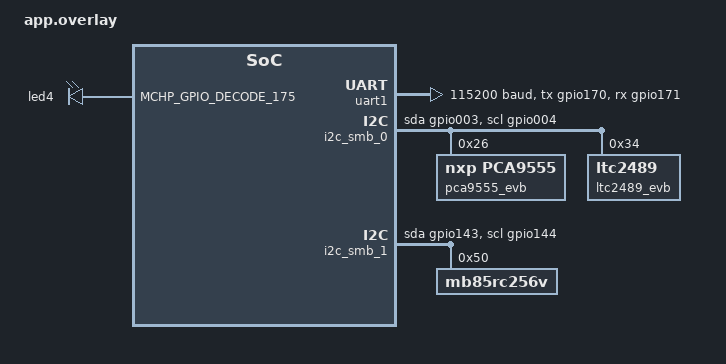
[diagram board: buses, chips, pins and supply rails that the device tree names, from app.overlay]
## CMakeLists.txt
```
# SPDX-License-Identifier: Apache-2.0

cmake_minimum_required(VERSION 3.20.0)

find_package(Zephyr REQUIRED HINTS $ENV{ZEPHYR_BASE})
project(i2c)

FILE(GLOB app_sources src/*.c)
target_sources(app PRIVATE ${app_sources})
```

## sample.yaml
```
tests:
  boards.mchp_mec.i2c:
    build_only: true
    platform_allow:
      - mec_assy6906/mech1723_nsz
      - mec_assy6906/mech1723_nlj
      - mec_assy6941/mec1743_qlj
      - mec_assy6941/mec1743_qsz
      - mec_assy6941/mec1753_qlj
      - mec_assy6941/mec1753_qsz
    tags: drivers i2c
```

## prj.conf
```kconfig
CONFIG_LOG=y
CONFIG_LOG_MODE_IMMEDIATE=y
#CONFIG_LOG_MODE_MINIMAL=y
#CONFIG_LOG_MODE_DEFERRED=y
#CONFIG_LOG_BUFFER_SIZE=2048
CONFIG_LOG_BACKEND_UART=y
#CONFIG_LOG_BACKEND_SWO=y
#CONFIG_LOG_BACKEND_SWO_REF_FREQ_HZ=96000000
#CONFIG_LOG_BACKEND_SWO_FREQ_HZ=4000000

CONFIG_GPIO=y
CONFIG_PINCTRL=y
CONFIG_LED=y
CONFIG_SERIAL=y
CONFIG_CONSOLE=y
CONFIG_UART_CONSOLE=y
CONFIG_I2C=y

# CONFIG_PM=n

# Help debug new code
# CONFIG_DEBUG_COREDUMP=y
# CONFIG_TRAP_UNALIGNED_ACCESS=y
# CONFIG_DEBUG=y
```

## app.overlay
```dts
/*
 * Copyright (c) 2024 Microchip Technology Inc.
 *
 * SPDX-License-Identifier: Apache-2.0
 */

#include <zephyr/dt-bindings/gpio/gpio.h>
#include <zephyr/dt-bindings/gpio/microchip-xec-gpio.h>

/*
 * MEC5_ASSY6941
 * JP7 2-3 GPIO055 pulled-down via 10K to ground.
 * JP23 14-15 selects GPIO055 as SHD_nCS0
 * JP42 1-2 connects 1.8V
 * JP60 2-3 VTR2 is powered by 1.8V
 * NOTE: VTR3 is always 1.8V
 *
 * Boot-ROM GPIO055 as RSMRST#
 * GPIO Control register value = 0x0200
 * Output, push-pull, driver low, no internal pulls,
 * interrupt detection = level low, alternate out enabled.
 * ROM drives pin high(inactive) using alternate out (bit[16] of control register)
 * Control register = 0x10200
 *
 * GPIO175/CMP_VOUT1/PWM8_ALT on schematic, LED4 on silkscreen.
 *
 * I2C00_SDA/SCL = GPIO003/004
 * Install Jumper JP15 4-5 to route GPIO004 as I2C00_SCL/UART2_DCD
 * Install Jumper JP15 7-8 to route GPIO003 as I2C00_SDA/UART2_RI
 * Install Jumper JP27 34-35 to select I2C00_SDA
 * Install Jumper JP27 31-32 to select I2C00_SCL
 * Install Jumper JP70 19-20 7.5K pull-up to VTR1 for I2C00_SDA
 * Install Jumper JP70 21-22 7.5K pull-up to VTR1 for I2C00_SCL
 *
 * U4 is PCA9555 I2C GPIO expander
 * JP52 1-2 use +3.3V_STBY
 * JP61 1-2, 3-4 connect I2C00_SCL and I2C00_SDA to EXTERNAL_SCLK/SDATA
 * JP55 selects I2C address
 * 1-2 = A0, 3-4 = A1, 5-6 = A2 all pull-up by default. Install jumper to ground signals.
 * Installed jumper on JP55 1-2. I2C Address = 0x26
 *
 * U19 is LTC2489 I2C 4-channel delta-sigma ADC
 * Address select pins CA0, CA1 both pulled high. Install jumpers to ground signals.
 * Installed jumpers on JP124 1-2 and 3-4. I2C Address = 0x34
 *
 * Attached Fujitsu MB85RC256V I2C FRAM demo board to 6-pin header J10
 * AdaFruit I2C FRAM breakout board.
 * NOTE: removed demo board 1K pulls on SCL and SDA. Using EVB pulls on SCL/SDA.
 * This device allows testing of larger I2C messages and breaking up large transactions
 * into multiple message buffers.
 * FRAM board power -> J10-5 VTR1 (3.3V)
 * FRAM board GND   -> J10-6 GND
 * FRAM board SCL   -> J10-1 I2C00_SCL
 * FRAM board SDA   -> J10-3 I2C00_SDA
 * FRAM address pins A0, A1, A2 are internally pulled-down.
 * I2C Address = 1010_A2_A1_A0 = 0x50 (default)
 *
 * I2C Port 4 is on VTR1
 * JP20 3x4
 *  1-2 GPIO144 I2C04_SCL
 *  4-5 GPIO143 I2C04_SDA
 *
 * JP21 3x16
 *  13-14 GPIO144 I2C04_SCL
 *  25-26 GPIO143 I2C04_SDA
 *
 * pull-ups
 * JP71 25-26 connect 7.5K pull-up to VTR1
 * JP71 27-28 connect 7.5K pull-up to VTR1
 *
 * 1x6 header J17
 * 1 = I2C04_SCL
 * 2, 6 = GND
 * 3 = I2C04_SDA
 * 4 = NC
 * 5 = VTR1
 */

/ {
	chosen {
		zephyr,console = &uart1;
	};

	aliases {
		spi0 = &qspi0;
		led0 = &led4;
		i2c0 = &i2c_smb_0;
		i2c-0 = &i2c_smb_0;
		i2c-nl-0 = &i2c_smb_1;
	};

	leds {
		compatible = "gpio-leds";
		led4: led_0 {
			gpios = <MCHP_GPIO_DECODE_175 GPIO_ACTIVE_HIGH>;
		};
	};
};

&dmac {
	compatible = "microchip,mec5-dmac";
	status = "okay";
};

&i2c00_scl_gpio004 {
	drive-open-drain;
	output-enable;
	output-high;
	drive-strength = "4x";
};

&i2c00_sda_gpio003 {
	drive-open-drain;
	output-enable;
	output-high;
	drive-strength = "4x";
};

&uart1 {
	current-speed = <115200>;
	status = "okay";
	pinctrl-0 = <&uart1_tx_gpio170 &uart1_rx_gpio171>;
	pinctrl-names = "default";
};

&i2c_smb_0 {
	compatible = "microchip,mec5-i2c";
	status = "okay";
	port_sel = < 0 >;
	sda-gpios = < MCHP_GPIO_DECODE_003 0 >;
	scl-gpios = < MCHP_GPIO_DECODE_004 0 >;
	pinctrl-0 = < &i2c00_sda_gpio003 &i2c00_scl_gpio004 >;
	pinctrl-names = "default";

	pca9555_evb: pca9555@26 {
		/* Zephyr will load NXP PCA9555 driver after MEC5 I2C because it calls MEC5 I2C during init */
		compatible = "nxp,pca9555";
		reg = <0x26>;
		gpio-controller;
		#gpio-cells = <2>;
	};

	ltc2489_evb: ltc2489@34 {
		/* No Zephyr driver exists */
		reg = <0x34>;
		#io-channels-cells = <1>;
	};
};

&i2c_smb_1 {
	compatible = "microchip,mec5-i2c-nl";
	status = "okay";
	port_sel = < 4 >;
	sda-gpios = < MCHP_GPIO_DECODE_143 0 >;
	scl-gpios = < MCHP_GPIO_DECODE_144 0 >;
	pinctrl-0 = < &i2c04_sda_gpio143 &i2c04_scl_gpio144 >;
	pinctrl-names = "default";
	dmas = <&dmac 2 0x3>, <&dmac 3 0x2>;
	dma-names = "cm", "tm";

	/* External Fujitsu MB85RC256V 256KB (32K x 8) FRAM */
	mb85rc256v: mb85rc256v@50 {
		/* No Zephyr driver exists */
		reg = <0x50>;
	};
};
```

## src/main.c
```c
/*
 * Copyright (c) 2012-2014 Wind River Systems, Inc.
 * Copyright (c) 2022 Microchip Technology, Inc.
 *
 * SPDX-License-Identifier: Apache-2.0
 */

#include <errno.h>
#include <stdint.h>
#include <string.h>
#include <soc.h>
#include <mec_i2c_api.h>

#include <zephyr/device.h>
#include <zephyr/devicetree.h>
#include <zephyr/kernel.h>
#include <zephyr/drivers/gpio.h>
#include <zephyr/drivers/i2c.h>
#include <zephyr/drivers/i2c/mchp_mec5_i2c.h>
#include <zephyr/drivers/led.h>
#include <zephyr/drivers/pinctrl.h>
#include <zephyr/drivers/spi.h>
#include <zephyr/sys/sys_io.h>

#include <zephyr/logging/log_ctrl.h>
#include <zephyr/logging/log.h>
LOG_MODULE_REGISTER(app, CONFIG_LOG_DEFAULT_LEVEL);

#define APP_BOARD_HAS_FRAM_ATTACHED

#define I2C_TARGET_NOT_PRESENT_ADDR 0x56

/* LTC2489 ADC conversion time using internal clock.
 * If a converstion is in progress LTC2489 will NACK its address.
 */
#define LTC2489_ADC_CONV_TIME_MS 150
#define LTC2489_ADC_READ_RETRIES 10

#define I2C_SENSOR_PORT 0
#define I2C_FRAM_PORT 4

#define I2C0_NODE	DT_ALIAS(i2c0)

static const struct device *i2c_dev = DEVICE_DT_GET(I2C0_NODE);

/* Access devices on an I2C bus using Device Tree child nodes of the I2C controller */
static const struct i2c_dt_spec pca9555_dts = I2C_DT_SPEC_GET(DT_NODELABEL(pca9555_evb));
static const struct i2c_dt_spec ltc2489_dts = I2C_DT_SPEC_GET(DT_NODELABEL(ltc2489_evb));
#ifdef APP_BOARD_HAS_FRAM_ATTACHED
static const struct i2c_dt_spec mb85rc256v_dts = I2C_DT_SPEC_GET(DT_NODELABEL(mb85rc256v));
#endif

static volatile uint32_t spin_val;
static volatile int ret_val;

static void spin_on(uint32_t id, int rval);
static int config_i2c_device(const struct device *dev, uint32_t i2c_dev_config);
static int test_i2c(const struct device *dev);
static int test_i2c_port_config(const struct device *dev, uint8_t sensor_port, uint8_t fram_port);

uint8_t buf1[256];
uint8_t buf2[256];
uint8_t buf3[256];

int main(void)
{
	int ret = 0;
	uint32_t i2c_dev_config = 0;
	uint32_t adc_retry_count = 0;
	uint32_t temp = 0;
	uint8_t nmsgs = 0;
	uint8_t target_addr = 0;
	struct i2c_msg msgs[4];

	LOG_INF("MEC5 I2C sample: board: %s", DT_N_P_compatible_IDX_0);

	memset(msgs, 0, sizeof(msgs));
	memset(buf1, 0x55, sizeof(buf1));
	memset(buf2, 0x55, sizeof(buf2));

	if (!device_is_ready(i2c_dev)) {
		LOG_ERR("I2C device is not ready!");
		spin_on((uint32_t)__LINE__, -1);
	}

	i2c_dev_config = I2C_SPEED_SET(I2C_SPEED_STANDARD) | I2C_MODE_CONTROLLER;

	ret = config_i2c_device(i2c_dev, i2c_dev_config);
	if (ret) {
		LOG_ERR("I2C configuration error (%d)", ret);
		spin_on((uint32_t)__LINE__, ret);
	}

	ret = i2c_get_config(i2c_dev, &temp);
	if (ret) {
		LOG_ERR("I2C get configuration error (%d)", ret);
		spin_on((uint32_t)__LINE__, ret);
	}

	if (temp != i2c_dev_config) {
		LOG_ERR("I2C configuration does not match: orig(0x%08x) returned(0x%08x)\n",
			i2c_dev_config, temp);
		spin_on((uint32_t)__LINE__, ret);
	}

	/* I2C write to non-existent device: check error return and if
	 * future I2C accesses to a real device work.
	 */
	LOG_INF("Attempt I2C transaction to a non-existent address");
	target_addr = I2C_TARGET_NOT_PRESENT_ADDR;
	nmsgs = 1u;
	buf1[0] = 2u;
	buf1[1] = 0x55u;
	buf1[2] = 0xaa;
	msgs[0].buf = buf1;
	msgs[0].len = 3u;
	msgs[0].flags = I2C_MSG_WRITE | I2C_MSG_STOP;

	ret = i2c_transfer(i2c_dev, msgs, nmsgs, target_addr);
	if (ret != 0) {
		LOG_INF("PASS: Expected API to return an error (%d)", ret);
	} else {
		LOG_ERR("FAIL: I2C API should have returned an error!");
		spin_on((uint32_t)__LINE__, ret);
	}

	for (int i = 0; i < 3; i++) {
		LOG_INF("I2C Write 3 bytes to PCA9555 target device");

		nmsgs = 1u;
		buf1[0] = 2u; /* PCA9555 cmd=2 is output port 0 */
		buf1[1] = 0x55u;
		buf1[2] = 0xaau;
		msgs[0].buf = buf1;
		msgs[0].len = 3u;
		msgs[0].flags = I2C_MSG_WRITE | I2C_MSG_STOP;

		ret = i2c_transfer_dt(&pca9555_dts, msgs, nmsgs);
		if (ret) {
			LOG_ERR("Loop %d: I2C write to PCA9555 error (%d)", i, ret);
			spin_on((uint32_t)__LINE__, ret);
		}
	}

	LOG_INF("Write 3 bytes to PCA9555 target using multiple write buffers");
	nmsgs = 3u;
	buf1[0] = 2u;
	buf1[1] = 0x33u;
	buf1[2] = 0xcc;
	msgs[0].buf = buf1;
	msgs[0].len = 1u;
	msgs[0].flags = I2C_MSG_WRITE;
	msgs[1].buf = &buf1[1];
	msgs[1].len = 1u;
	msgs[1].flags = I2C_MSG_WRITE;
	msgs[2].buf = &buf1[2];
	msgs[2].len = 1u;
	msgs[2].flags = I2C_MSG_WRITE | I2C_MSG_STOP;

	ret = i2c_transfer_dt(&pca9555_dts, msgs, nmsgs);
	if (ret) {
		LOG_ERR("I2C write multiple buffers to PCA9555 error (%d)", ret);
		spin_on((uint32_t)__LINE__, ret);
	}

	LOG_INF("Read both PCA9555 input ports");

	/* PCA9555 read protocol: START TX[wrAddr, cmd],
	 * Rpt-START TX[rdAddr],  RX[data,...], STOP
	 */
	nmsgs = 2u;
	buf1[0] = 0u; /* PCA9555 cmd=0 is input port 0 */
	buf2[0] = 0x55u; /* receive buffer */
	buf2[1] = 0x55u;

	msgs[0].buf = buf1;
	msgs[0].len = 1u;
	msgs[0].flags = I2C_MSG_WRITE;

	msgs[1].buf = buf2;
	msgs[1].len = 2u;
	msgs[1].flags = I2C_MSG_READ | I2C_MSG_STOP;

	ret = i2c_transfer_dt(&pca9555_dts, msgs, nmsgs);
	if (ret) {
		LOG_ERR("I2C transfer error: write cmd byte, read 2 data bytes: (%d)", ret);
		spin_on((uint32_t)__LINE__, ret);
	}

	LOG_INF("PCA9555 Port 0 input = 0x%02x  Port 1 input = 0x%02x", buf2[0], buf2[1]);

	LOG_INF("Read both PCA9555 input ports using different buffers for each port");
	nmsgs = 3u;

	buf1[0] = 0u; /* PCA9555 cmd=0 is input port 0 */
	buf2[0] = 0x55u; /* first receive buffer */
	buf2[1] = 0x55u;
	buf2[8] = 0x55u; /* second receive buffer */
	buf2[9] = 0x55u;

	msgs[0].buf = buf1;
	msgs[0].len = 1u;
	msgs[0].flags = I2C_MSG_WRITE;

	msgs[1].buf = buf2;
	msgs[1].len = 1u;
	msgs[1].flags = I2C_MSG_READ;

	msgs[2].buf = &buf2[8];
	msgs[2].len = 1u;
	msgs[2].flags = I2C_MSG_READ | I2C_MSG_STOP;

	ret = i2c_transfer_dt(&pca9555_dts, msgs, nmsgs);
	if (ret) {
		LOG_ERR("I2C transfer error: 3 messages: (%d)", ret);
		spin_on((uint32_t)__LINE__, ret);
	}

	LOG_INF("PCA9555 Port 0 input = 0x%02x  Port 1 input = 0x%02x", buf2[0], buf2[8]);

	LOG_INF("Select ADC channel 0 in LTC2489. This triggers a conversion!");
	nmsgs = 1;
	buf1[0] = 0xb0u; /* 1011_0000 selects channel 0 as single ended */
	msgs[0].buf = buf1;
	msgs[0].len = 1u;
	msgs[0].flags = I2C_MSG_WRITE | I2C_MSG_STOP;

	ret = i2c_transfer_dt(&ltc2489_dts, msgs, nmsgs);
	if (ret) {
		LOG_ERR("I2C write to set LTC2489 channel failed: (%d)", ret);
		spin_on(10u, ret);
	}

	/* wait for LTC2489 to finish a conversion */
	k_sleep(K_MSEC(LTC2489_ADC_CONV_TIME_MS));

	/* LTC2489 ADC read protocol is I2C read: START TX[rdAddr]
	 * RX[data[7:0], data[15:8], data[23:16]] STOP
	 */
	LOG_INF("Read 24-bit ADC reading from LTC2489");
	adc_retry_count = 0;
	do {
		buf2[0] = 0x55;
		buf2[1] = 0x55;
		buf2[2] = 0x55;

		nmsgs = 1;
		msgs[0].buf = buf2;
		msgs[0].len = 3u;
		msgs[0].flags = I2C_MSG_READ | I2C_MSG_STOP;

		ret = i2c_transfer_dt(&ltc2489_dts, msgs, nmsgs);
		if (ret) {
			adc_retry_count++;
			LOG_INF("LTC2489 read error (%d)", ret);
		}
	} while ((ret != 0) && (adc_retry_count < LTC2489_ADC_READ_RETRIES));

	if (ret == 0) {
		temp = ((uint32_t)(buf2[0]) + (((uint32_t)(buf2[1])) << 8)
				+ (((uint32_t)(buf2[2])) << 16));
		LOG_INF("LTC2489 reading = 0x%08x", temp);
	}

	ret = test_i2c(mb85rc256v_dts.bus);
	if (ret) {
		LOG_ERR("I2C-NL test failed");
	}
	ret = test_i2c_port_config(mb85rc256v_dts.bus, I2C_SENSOR_PORT, I2C_FRAM_PORT);
	LOG_INF("I2C Port Config returned (%d)", ret);

	LOG_INF("Application Done (%d)", ret);
	spin_on((uint32_t)__LINE__, 0);

	return 0;
}

static void spin_on(uint32_t id, int rval)
{
	spin_val = id;
	ret_val = rval;

	log_panic(); /* flush log buffers */

	while (spin_val) {
		;
	}
}

static int config_i2c_device(const struct device *dev, uint32_t i2c_dev_config)
{
	uint32_t temp = 0;
	int ret = 0;

	if (!dev) {
		return -EINVAL;
	}

	ret = i2c_configure(dev, i2c_dev_config);
	if (ret) {
		LOG_ERR("I2C configuration error (%d)", ret);
		return  ret;
	}

	ret = i2c_get_config(dev, &temp);
	if (ret) {
		LOG_ERR("I2C get configuration error (%d)", ret);
		return ret;
	}

	if (temp != i2c_dev_config) {
		ret = -EIO;
		LOG_ERR("I2C configuration does not match: orig(0x%08x) returned(0x%08x)\n",
			i2c_dev_config, temp);
	}

	return ret;
}

static int test_i2c(const struct device *idev)
{
	uint32_t i2c_dev_config = I2C_SPEED_SET(I2C_SPEED_STANDARD) | I2C_MODE_CONTROLLER;
	int ret = 0;
	uint8_t nmsgs = 0;
	uint16_t target_addr = 0;
#ifdef APP_BOARD_HAS_FRAM_ATTACHED
	uint16_t fram_mem_addr = 0;
	uint32_t fram_nbytes = 0;
	uint32_t temp = 0;
#endif
	struct i2c_msg msgs[4];

	if (!idev) {
		return -EINVAL;
	}

	if (!device_is_ready(idev)) {
		LOG_ERR("I2C-NL device is not ready!");
		return -EIO;
	}

	ret = config_i2c_device(mb85rc256v_dts.bus, i2c_dev_config);
	if (ret) {
		LOG_ERR("I2C-NL configuration error (%d)", ret);
		return ret;
	}

	LOG_INF("Attempt I2C transaction to a non-existent address");
	target_addr = I2C_TARGET_NOT_PRESENT_ADDR;
	nmsgs = 1u;
	buf1[0] = 2u;
	buf1[1] = 0x55u;
	buf1[2] = 0xaa;
	msgs[0].buf = buf1;
	msgs[0].len = 3u;
	msgs[0].flags = I2C_MSG_WRITE | I2C_MSG_STOP;

	ret = i2c_transfer(idev, msgs, nmsgs, target_addr);
	if (ret) {
		LOG_INF("API returned error (%d) as expected", ret);
	} else {
		LOG_ERR("Expected an error due to NAK. API returned success");
		return -EIO;
	}

#ifdef APP_BOARD_HAS_FRAM_ATTACHED
	fram_nbytes = 32u;
	fram_mem_addr = 0x1234u;

	LOG_INF("MB85RC256V FRAM write %u bytes to offset 0x%x", fram_nbytes, fram_mem_addr);

	nmsgs = 1;
	buf1[0] = (uint8_t)((fram_mem_addr >> 8) & 0xffu); /* address b[15:8] */
	buf1[1] = (uint8_t)((fram_mem_addr) & 0xffu); /* address b[7:0] */

	for (temp = 0; temp < fram_nbytes; temp++) {
		buf1[temp + 2] = (uint8_t)((temp + 0x10) & 0xffu);
	}

	/* NOTE: Do we want to support two write messages?
	 * if len(msg1) + len(msg2) < len(xfrbuf-1) combine then in driver xfrbuf
	 * else more complicated
	 *   len(msg1) may be > len(xfrbuf-1)
	 */
	msgs[0].buf = buf1;
	msgs[0].len = fram_nbytes + 2u;
	msgs[0].flags = I2C_MSG_WRITE | I2C_MSG_STOP;

	ret = i2c_transfer_dt(&mb85rc256v_dts, msgs, nmsgs);
	if (ret) {
		LOG_ERR("I2C API for FRAM write returned error %d", ret);
		return ret;
	}

	LOG_INF("MB85RC256V FRAM read %u bytes from offset 0x%x", fram_nbytes, fram_mem_addr);

	nmsgs = 2;
	buf2[0] = (uint8_t)((fram_mem_addr >> 8) & 0xffu); /* address b[15:8] */
	buf2[1] = (uint8_t)((fram_mem_addr) & 0xffu); /* address b[7:0] */

	msgs[0].buf = buf2;
	msgs[0].len = 2u;
	msgs[0].flags = I2C_MSG_WRITE;

	msgs[1].buf = buf3;
	msgs[1].len = fram_nbytes;
	msgs[1].flags = I2C_MSG_READ | I2C_MSG_STOP;

	ret = i2c_transfer_dt(&mb85rc256v_dts, msgs, nmsgs);
	if (ret) {
		LOG_ERR("I2C API for FRAM write returned error %d", ret);
		return ret;
	}

	ret = memcmp(&buf1[2], buf3, fram_nbytes);
	if (ret == 0) {
		LOG_INF("FRAM read back of 32 bytes matches written data");
	} else {
		LOG_ERR("FRAM read back mismatch");
	}

	if (sizeof(buf1) < ((2 * 64u) + 2u)) {
		LOG_ERR("Test error: require buf1 and buf2 sizes > "
			"(2 * I2C-NL driver buffer size) + 2");
		return -EINVAL;
	}

	fram_nbytes = 64u;
	for (temp = 0; temp < fram_nbytes; temp++) {
		buf1[temp + 2] = (uint8_t)(temp & 0xffu);
	}

	/* FRAM offset 0 */
	fram_mem_addr = 0;
	buf1[0] = (uint8_t)((fram_mem_addr >> 8) & 0xffu); /* address b[15:8] */
	buf1[1] = (uint8_t)((fram_mem_addr) & 0xffu); /* address b[7:0] */

	LOG_INF("MB85RC256V FRAM write %u bytes to offset 0x%x", fram_nbytes, fram_mem_addr);

	msgs[0].buf = buf1;
	msgs[0].len = fram_nbytes + 2u;
	msgs[0].flags = I2C_MSG_WRITE | I2C_MSG_STOP;
	nmsgs = 1;

	ret = i2c_transfer_dt(&mb85rc256v_dts, msgs, nmsgs);
	if (ret) {
		LOG_ERR("I2C API for FRAM write returned error %d", ret);
		return ret;
	}

	LOG_INF("MB85RC256V FRAM read %u bytes from offset 0x%x", fram_nbytes, fram_mem_addr);

	/* test I2C write-read sequence */
	nmsgs = 2;
	buf2[0] = (uint8_t)((fram_mem_addr >> 8) & 0xffu); /* address b[15:8] */
	buf2[1] = (uint8_t)((fram_mem_addr) & 0xffu); /* address b[7:0] */

	msgs[0].buf = buf2;
	msgs[0].len = 2u;
	msgs[0].flags = I2C_MSG_WRITE;

	msgs[1].buf = buf3;
	msgs[1].len = fram_nbytes;
	msgs[1].flags = I2C_MSG_READ | I2C_MSG_STOP;

	ret = i2c_transfer_dt(&mb85rc256v_dts, msgs, nmsgs);
	if (ret) {
		LOG_ERR("I2C API for FRAM write returned error %d", ret);
		return ret;
	}

	ret = memcmp(&buf1[2], buf3, fram_nbytes);
	if (ret == 0) {
		LOG_INF("FRAM read back of %u bytes matches written data", fram_nbytes);
	} else {
		LOG_ERR("FRAM read back mismatch");
	}


	memset(buf1, 0, sizeof(buf1));
	memset(buf2, 0, sizeof(buf2));
	memset(buf3, 0x55, sizeof(buf3));

	/* odd size larger than driver buffer */
	fram_nbytes = 64u + 5u;
	fram_mem_addr = 0x8756u;
	buf1[0] = (uint8_t)((fram_mem_addr >> 8) & 0xffu); /* address b[15:8] */
	buf1[1] = (uint8_t)((fram_mem_addr) & 0xffu); /* address b[7:0] */

	for (temp = 0; temp < fram_nbytes; temp++) {
		buf2[temp] = (uint8_t)(temp & 0xffu);
	}

	LOG_INF("MB85RC256V FRAM write %u bytes to offset 0x%x: first write msg is offset, "
		"second is data", fram_nbytes, fram_mem_addr);

	nmsgs = 2;
	msgs[0].buf = buf1;
	msgs[0].len = 2u; /* 16-bit offset in FRAM */
	msgs[0].flags = I2C_MSG_WRITE;
	msgs[1].buf = buf2;
	msgs[1].len = fram_nbytes;
	msgs[1].flags = I2C_MSG_WRITE | I2C_MSG_STOP;

	ret = i2c_transfer_dt(&mb85rc256v_dts, msgs, nmsgs);
	if (ret) {
		LOG_ERR("I2C API for FRAM write returned error %d", ret);
		return ret;
	}

	LOG_INF("MB85RC256V FRAM read %u bytes from offset 0x%x", fram_nbytes, fram_mem_addr);

	nmsgs = 2;
	buf1[0] = (uint8_t)((fram_mem_addr >> 8) & 0xffu); /* address b[15:8] */
	buf1[1] = (uint8_t)((fram_mem_addr) & 0xffu); /* address b[7:0] */

	msgs[0].buf = buf1;
	msgs[0].len = 2u;
	msgs[0].flags = I2C_MSG_WRITE;

	msgs[1].buf = buf3;
	msgs[1].len = fram_nbytes;
	msgs[1].flags = I2C_MSG_READ | I2C_MSG_STOP;

	ret = i2c_transfer_dt(&mb85rc256v_dts, msgs, nmsgs);
	if (ret) {
		LOG_ERR("I2C API for FRAM write returned error %d", ret);
		return ret;
	}

	ret = memcmp(buf2, buf3, fram_nbytes);
	if (ret == 0) {
		LOG_INF("FRAM read back of %u bytes matches written data", fram_nbytes);
	} else {
		LOG_ERR("FRAM read back mismatch");
	}
#endif /* APP_BOARD_HAS_FRAM_ATTACHED */
	return 0;
}

static int test_i2c_port_config(const struct device *dev, uint8_t sensor_port, uint8_t fram_port)
{
	uint32_t i2c_config = 0;
	int ret = 0;
	uint8_t i2c_port = 0, actual_port = 0;
	uint8_t nmsgs = 0;
	struct i2c_msg msgs[4];

	if (!device_is_ready(dev)) {
		LOG_ERR("I2C-NL device is not ready!");
		return -EIO;
	}

	LOG_INF("Switch to I2C Port 15");
	i2c_config = I2C_MODE_CONTROLLER | I2C_SPEED_SET(I2C_SPEED_STANDARD);
	i2c_port = MEC_I2C_PORT_15;
	ret = i2c_mchp_configure(dev, i2c_config, i2c_port);
	if (ret) {
		LOG_ERR("MCHP I2C NL Configure side-band API returned error (%d)", ret);
		return ret;
	}

	ret = i2c_mchp_get_port(dev, &actual_port);
	if (ret) {
		LOG_ERR("MCHP I2C NL get port API returned error (%d)", ret);
		return ret;
	}

	if (actual_port == i2c_port) {
		LOG_INF("Change to Port %u OK", i2c_port);
	} else {
		LOG_ERR("Change to Port %u FAIL", i2c_port);
		return -EIO;
	}

	LOG_INF("Switch to Sensor port");
	i2c_config = I2C_MODE_CONTROLLER | I2C_SPEED_SET(I2C_SPEED_STANDARD);
	i2c_port = sensor_port;

	ret = i2c_mchp_configure(dev, i2c_config, i2c_port);
	if (ret) {
		LOG_ERR("MCHP I2C NL Configure side-band API returned error (%d)", ret);
		return ret;
	}

	ret = i2c_mchp_get_port(dev, &actual_port);
	if (ret) {
		LOG_ERR("MCHP I2C NL get port API returned error (%d)", ret);
		return ret;
	}

	if (actual_port == i2c_port) {
		LOG_INF("Change to Port %u OK", i2c_port);
	} else {
		LOG_ERR("Change to Port %u FAIL", i2c_port);
		return -EIO;
	}

	/* Do transfer */
	LOG_INF("Read both PCA9555 input ports");

	/* PCA9555 read protocol: START TX[wrAddr, cmd],
	 * Rpt-START TX[rdAddr],  RX[data,...], STOP
	 */
	nmsgs = 2u;
	buf1[0] = 0u; /* PCA9555 cmd=0 is input port 0 */
	buf2[0] = 0x55u; /* receive buffer */
	buf2[1] = 0x55u;

	msgs[0].buf = buf1;
	msgs[0].len = 1u;
	msgs[0].flags = I2C_MSG_WRITE;

	msgs[1].buf = buf2;
	msgs[1].len = 2u;
	msgs[1].flags = I2C_MSG_READ | I2C_MSG_STOP;

	ret = i2c_transfer(dev, msgs, nmsgs, pca9555_dts.addr);
	if (ret) {
		LOG_ERR("I2C transfer error: write cmd byte, read 2 data bytes: (%d)", ret);
		spin_on((uint32_t)__LINE__, ret);
	}

	LOG_INF("PCA9555 Port 0 input = 0x%02x  Port 1 input = 0x%02x", buf2[0], buf2[1]);

	LOG_INF("Switch to FRAM port");
	i2c_config = I2C_MODE_CONTROLLER | I2C_SPEED_SET(I2C_SPEED_FAST);
	i2c_port = fram_port;
	actual_port = 0;

	ret = i2c_mchp_configure(dev, i2c_config, i2c_port);
	if (ret) {
		LOG_ERR("MCHP I2C NL Configure side-band API returned error (%d)", ret);
		return ret;
	}

	ret = i2c_mchp_get_port(dev, &actual_port);
	if (ret) {
		LOG_ERR("MCHP I2C NL get port API returned error (%d)", ret);
		return ret;
	}

	if (actual_port == i2c_port) {
		LOG_INF("Change to Port %u OK", i2c_port);
	} else {
		LOG_ERR("Change to Port %u FAIL", i2c_port);
		return -EIO;
	}

#ifdef APP_BOARD_HAS_FRAM_ATTACHED
	uint32_t fram_nbytes = 32u;
	uint32_t fram_mem_addr = 0x1234u;

	memset(buf2, 0x55, sizeof(buf2));
	memset(buf3, 0x55, sizeof(buf3));

	LOG_INF("MB85RC256V FRAM write %u bytes to offset 0x%x", fram_nbytes, fram_mem_addr);

	nmsgs = 1;
	buf1[0] = (uint8_t)((fram_mem_addr >> 8) & 0xffu); /* address b[15:8] */
	buf1[1] = (uint8_t)((fram_mem_addr) & 0xffu); /* address b[7:0] */

	for (uint32_t temp = 0; temp < fram_nbytes; temp++) {
		buf1[temp + 2] = (uint8_t)((temp + 0x10) & 0xffu);
	}

	/* NOTE: Do we want to support two write messages?
	 * if len(msg1) + len(msg2) < len(xfrbuf-1) combine then in driver xfrbuf
	 * else more complicated
	 *   len(msg1) may be > len(xfrbuf-1)
	 */
	msgs[0].buf = buf1;
	msgs[0].len = fram_nbytes + 2u;
	msgs[0].flags = I2C_MSG_WRITE | I2C_MSG_STOP;

	ret = i2c_transfer(dev, msgs, nmsgs, mb85rc256v_dts.addr);
	if (ret) {
		LOG_ERR("I2C API for FRAM write returned error %d", ret);
		return ret;
	}

	LOG_INF("MB85RC256V FRAM read %u bytes from offset 0x%x", fram_nbytes, fram_mem_addr);

	nmsgs = 2;
	buf2[0] = (uint8_t)((fram_mem_addr >> 8) & 0xffu); /* address b[15:8] */
	buf2[1] = (uint8_t)((fram_mem_addr) & 0xffu); /* address b[7:0] */

	msgs[0].buf = buf2;
	msgs[0].len = 2u;
	msgs[0].flags = I2C_MSG_WRITE;

	msgs[1].buf = buf3;
	msgs[1].len = fram_nbytes;
	msgs[1].flags = I2C_MSG_READ | I2C_MSG_STOP;

	ret = i2c_transfer(dev, msgs, nmsgs, mb85rc256v_dts.addr);
	if (ret) {
		LOG_ERR("I2C API for FRAM read returned error %d", ret);
		return ret;
	}

	ret = memcmp(&buf1[2], buf3, fram_nbytes);
	if (ret == 0) {
		LOG_INF("FRAM read back of 32 bytes matches written data");
	} else {
		LOG_ERR("FRAM read back mismatch");
	}
#endif
	return 0;
}
```
